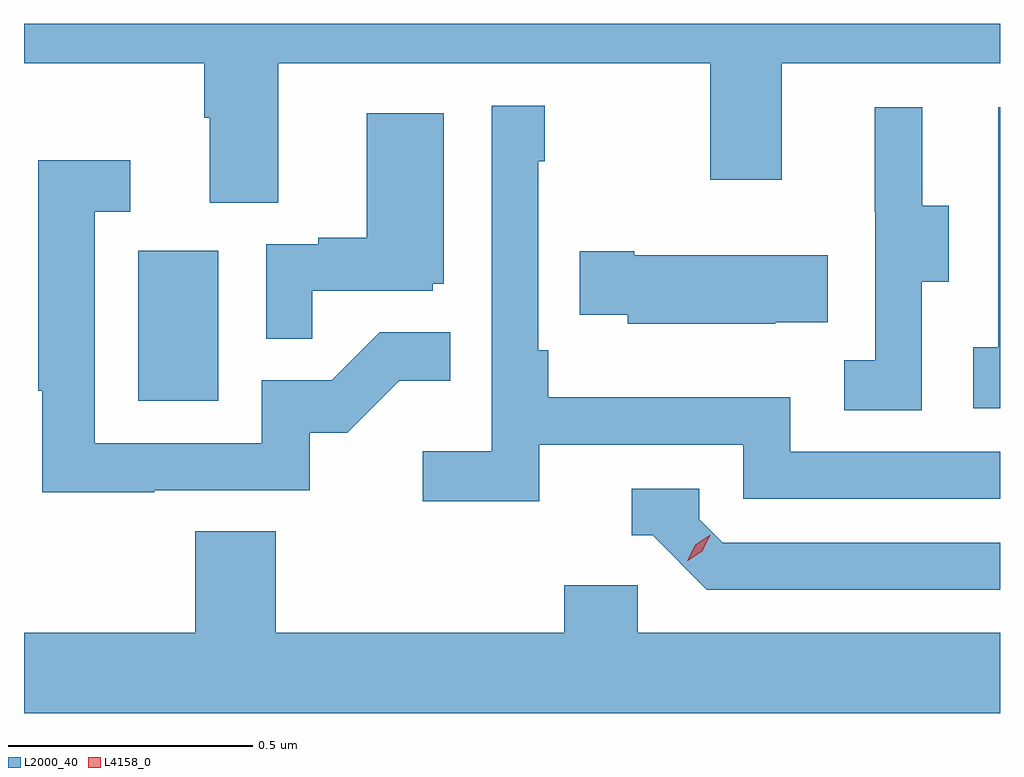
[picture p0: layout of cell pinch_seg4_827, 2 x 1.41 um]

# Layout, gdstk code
import gdstk
lib = gdstk.Library(unit=1e-6, precision=1e-09)
def R(c, l, rs):  # rectangles x0, y0, x1, y1
    for r in rs: c.add(gdstk.rectangle(r[:2], r[2:], *l))
def P(c, l, *ps):  # polygons
    for p in ps: c.add(gdstk.Polygon(p, *l))
L2000_40 = (2000, 40)
L4158_0 = (4158, 0)

pinch_seg4_827 = lib.new_cell('pinch_seg4_827')
R(pinch_seg4_827, L2000_40, [(798.242,797.46,798.406,797.767)])
P(pinch_seg4_827, L2000_40, [(798.008,798.152),(798.377,798.152),(798.377,798.04),(798.389,798.04),(798.389,797.866),(798.529,797.866),(798.529,798.152),(799.414,798.152),(799.414,797.913),(799.561,797.913),(799.561,798.152),(800.008,798.152),(800.008,798.232),(798.008,798.232)],
  [(799.064,797.37),(799.482,797.37),(799.482,797.259),(800.008,797.259),(800.008,797.355),(799.578,797.355),(799.578,797.467),(799.082,797.467),(799.082,797.563),(799.062,797.563),(799.062,797.951),(799.075,797.951),(799.075,798.064),(798.966,798.064),(798.966,797.356),(798.825,797.356),(798.825,797.254),(799.064,797.254)],
  [(800.008,798.061),(800.004,798.061),(800.004,797.57),(799.953,797.57),(799.953,797.445),(800.008,797.445)],
  [(799.848,797.704),(799.903,797.704),(799.903,797.859),(799.849,797.859),(799.849,798.061),(799.751,798.061),(799.751,797.847),(799.752,797.847),(799.752,797.543),(799.689,797.543),(799.689,797.44),(799.848,797.44)],
  [(798.599,797.685),(798.846,797.685),(798.846,797.7),(798.868,797.7),(798.868,798.049),(798.71,798.049),(798.71,797.794),(798.611,797.794),(798.611,797.781),(798.504,797.781),(798.504,797.587),(798.599,797.587)],
  [(798.275,797.277),(798.594,797.277),(798.594,797.394),(798.67,797.394),(798.777,797.501),(798.881,797.501),(798.881,797.6),(798.737,797.6),(798.639,797.502),(798.495,797.502),(798.495,797.373),(798.153,797.373),(798.153,797.847),(798.226,797.847),(798.226,797.953),(798.037,797.953),(798.037,797.48),(798.045,797.48),(798.045,797.272),(798.275,797.272)],
  [(799.547,797.621),(799.655,797.621),(799.655,797.758),(799.258,797.758),(799.258,797.766),(799.147,797.766),(799.147,797.636),(799.245,797.636),(799.245,797.618),(799.547,797.618)],
  [(800.008,797.169),(799.44,797.169),(799.392,797.217),(799.392,797.28),(799.253,797.28),(799.253,797.184),(799.296,797.184),(799.407,797.073),(800.008,797.073)],
  [(800.008,796.984),(799.266,796.984),(799.266,797.082),(799.115,797.082),(799.115,796.984),(798.524,796.984),(798.524,797.192),(798.359,797.192),(798.359,796.984),(798.008,796.984),(798.008,796.82),(800.008,796.82)])
P(pinch_seg4_827, L4158_0, [(799.367,797.132),(799.367,797.132),(799.383,797.165),(799.414,797.185),(799.414,797.185),(799.414,797.185),(799.398,797.152),(799.368,797.132)])

lib.write_gds('pinch_seg4_827.gds')
